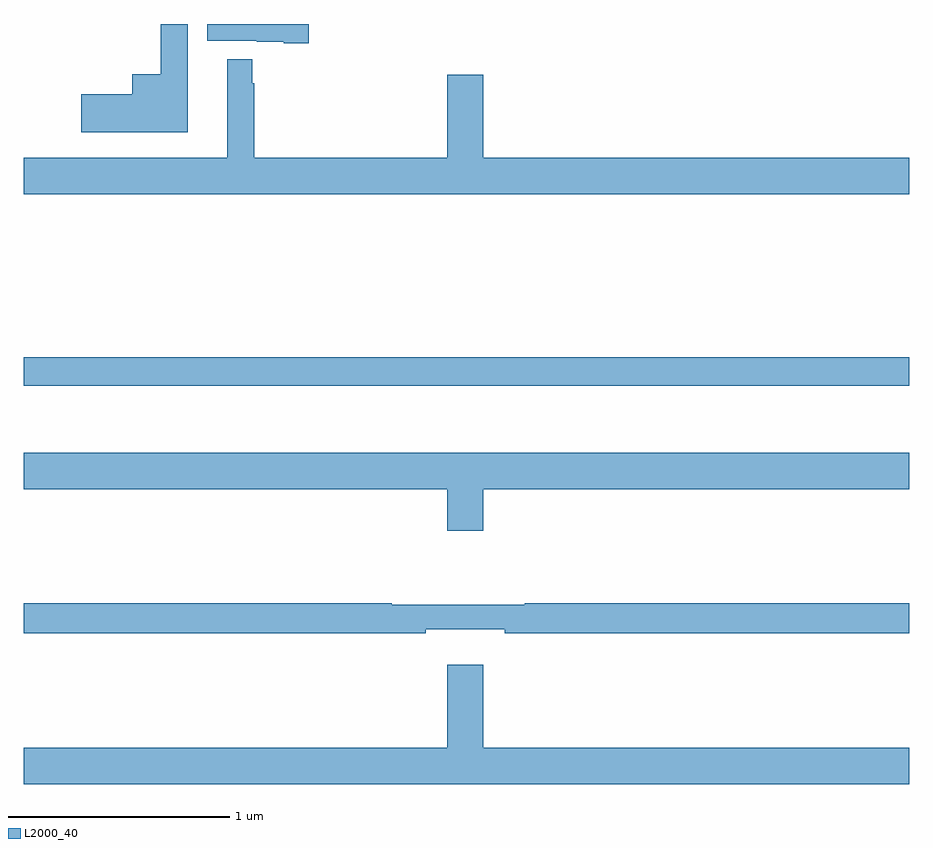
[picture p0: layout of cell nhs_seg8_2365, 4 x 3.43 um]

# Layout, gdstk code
import gdstk
lib = gdstk.Library(unit=1e-6, precision=1e-09)
def R(c, l, rs):  # rectangles x0, y0, x1, y1
    for r in rs: c.add(gdstk.rectangle(r[:2], r[2:], *l))
def P(c, l, *ps):  # polygons
    for p in ps: c.add(gdstk.Polygon(p, *l))
L2000_40 = (2000, 40)

nhs_seg8_2365 = lib.new_cell('nhs_seg8_2365')
R(nhs_seg8_2365, L2000_40, [(259,1150.266,263,1150.394)])
P(nhs_seg8_2365, L2000_40, [(260.287,1151.9),(259.829,1151.9),(259.829,1151.825),(260.052,1151.825),(260.052,1151.819),(260.174,1151.819),(260.174,1151.813),(260.287,1151.813)],
  [(259.741,1151.9),(259.62,1151.9),(259.62,1151.674),(259.49,1151.674),(259.49,1151.582),(259.26,1151.582),(259.26,1151.411),(259.741,1151.411)],
  [(263,1151.296),(261.076,1151.296),(261.076,1151.671),(260.912,1151.671),(260.912,1151.296),(260.041,1151.296),(260.041,1151.633),(260.033,1151.633),(260.033,1151.74),(259.919,1151.74),(259.919,1151.296),(259,1151.296),(259,1151.132),(263,1151.132)],
  [(261.076,1149.8),(263,1149.8),(263,1149.964),(259,1149.964),(259,1149.8),(260.912,1149.8),(260.912,1149.612),(261.076,1149.612)],
  [(260.816,1149.167),(261.172,1149.167),(261.172,1149.148),(263,1149.148),(263,1149.284),(261.263,1149.284),(261.263,1149.277),(260.663,1149.277),(260.663,1149.284),(259,1149.284),(259,1149.148),(260.816,1149.148)],
  [(263,1148.632),(261.076,1148.632),(261.076,1149.007),(260.912,1149.007),(260.912,1148.632),(259,1148.632),(259,1148.468),(263,1148.468)])

lib.write_gds('nhs_seg8_2365.gds')
